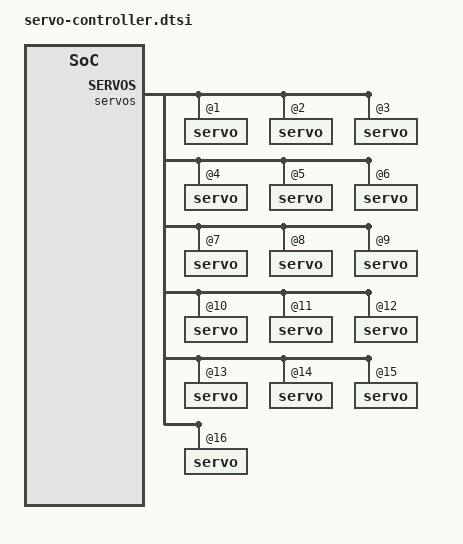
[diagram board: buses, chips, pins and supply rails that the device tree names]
/*
 * Copyright (C) 2015 MdJ Electronics - http://www.mdejong.de 
 *
 * This program is free software; you can redistribute it and/or modify
 * it under the terms of the GNU General Public License version 2 as
 * published by the Free Software Foundation.
 */

&servo-controller-eeprom {
	
	i2c-bus = "/dev/i2c1";
	slave-address = <0x50>;
	size = <0x10000>; 	/* 64kBytes */
	name = "24AA512";
};

&servo-controller@1 {
	
	i2c-bus = "/dev/i2c1";
	slave-address = <0x42>;
	oe-gpio-pin = <&gpio1 29 GPIO_ACTIVE_LOW>;
	prescaler = <121>;
	mode2 = <0x04>;
	update-mode = <0>;
}

&servo-controller@2 {
	
	i2c-bus = "/dev/i2c1";
	slave-address = <0x43>;
	oe-gpio-pin = <&gpio1 29 GPIO_ACTIVE_LOW>;
	prescaler = <121>;
	mode2 = <0x04>;
	update-mode = <0>;
}

&servos {
	servo@1{
		controller = <1>;
		period = <0x100>;
		min-pulse = <52>;
		neutral-pulse = <104>;
		max-pulse = <156>;
	};

	servo@2{
		controller = <1>;
		period = <0x100>;
		min-pulse = <52>;
		neutral-pulse = <104>;
		max-pulse = <156>;
	};

	servo@3{
		controller = <1>;
		period = <0x100>;
		min-pulse = <52>;
		neutral-pulse = <104>;
		max-pulse = <156>;
	};

	servo@4{
		controller = <1>;
		period = <0x100>;
		min-pulse = <52>;
		neutral-pulse = <104>;
		max-pulse = <156>;
	};

	servo@5{
		controller = <1>;
		period = <0x100>;
		min-pulse = <52>;
		neutral-pulse = <104>;
		max-pulse = <156>;
	};

	servo@6{
		controller = <1>;
		period = <0x100>;
		min-pulse = <52>;
		neutral-pulse = <104>;
		max-pulse = <156>;
	};

	servo@7{
		controller = <1>;
		period = <0x100>;
		min-pulse = <52>;
		neutral-pulse = <104>;
		max-pulse = <156>;
	};

	servo@8{
		controller = <1>;
		period = <0x100>;
		min-pulse = <52>;
		neutral-pulse = <104>;
		max-pulse = <156>;
	};

	servo@9{
		controller = <1>;
		period = <0x100>;
		min-pulse = <52>;
		neutral-pulse = <104>;
		max-pulse = <156>;
	};

	servo@10{
		controller = <1>;
		period = <0x100>;
		min-pulse = <52>;
		neutral-pulse = <104>;
		max-pulse = <156>;
	};

	servo@11{
		controller = <1>;
		period = <0x100>;
		min-pulse = <52>;
		neutral-pulse = <104>;
		max-pulse = <156>;
	};

	servo@12{
		controller = <1>;
		period = <0x100>;
		min-pulse = <52>;
		neutral-pulse = <104>;
		max-pulse = <156>;
	};

	servo@13{
		controller = <1>;
		period = <0x100>;
		min-pulse = <52>;
		neutral-pulse = <104>;
		max-pulse = <156>;
	};

	servo@14{
		controller = <1>;
		period = <0x100>;
		min-pulse = <52>;
		neutral-pulse = <104>;
		max-pulse = <156>;
	};

	servo@15{
		controller = <1>;
		period = <0x100>;
		min-pulse = <52>;
		neutral-pulse = <104>;
		max-pulse = <156>;
	};

	servo@16{
		controller = <1>;
		period = <0x100>;
		min-pulse = <52>;
		neutral-pulse = <104>;
		max-pulse = <156>;
	};
};
